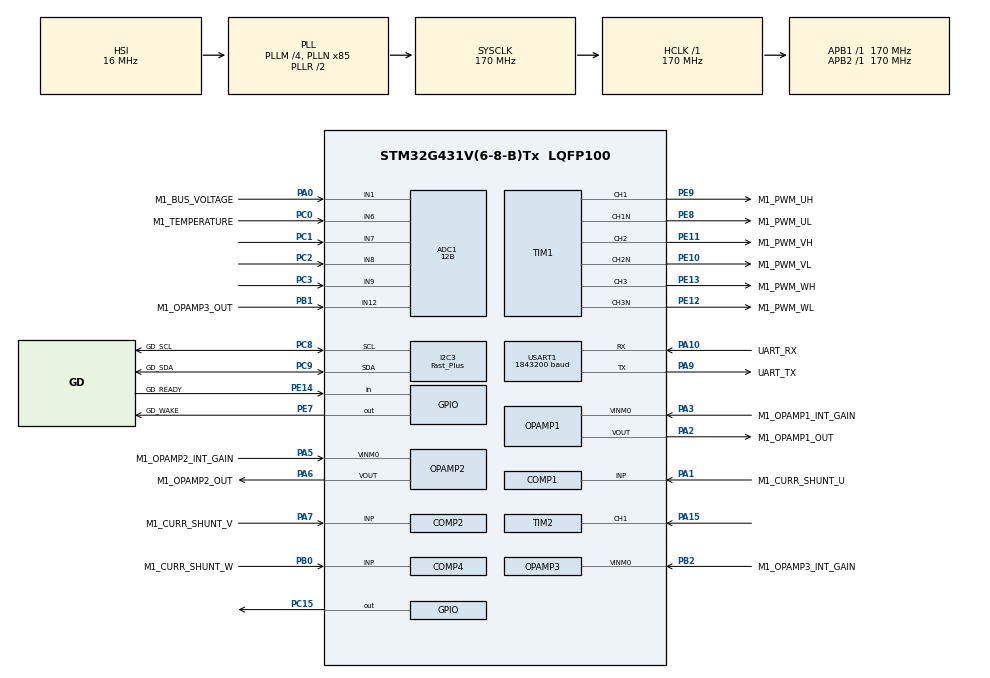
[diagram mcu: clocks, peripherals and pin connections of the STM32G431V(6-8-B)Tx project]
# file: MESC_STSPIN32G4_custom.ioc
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ADC1.Channel-1\#ChannelRegularConversion=ADC_CHANNEL_1
ADC1.Channel-2\#ChannelRegularConversion=ADC_CHANNEL_6
ADC1.Channel-3\#ChannelRegularConversion=ADC_CHANNEL_7
ADC1.Channel-4\#ChannelRegularConversion=ADC_CHANNEL_9
ADC1.Channel-5\#ChannelRegularConversion=ADC_CHANNEL_1
ADC1.ClockPrescaler=ADC_CLOCK_ASYNC_DIV1
ADC1.ContinuousConvMode=DISABLE
ADC1.DMAContinuousRequests=DISABLE
ADC1.DataAlign=ADC_DATAALIGN_RIGHT
ADC1.DiscontinuousConvMode=DISABLE
ADC1.EOCSelection=ADC_EOC_SINGLE_CONV
ADC1.EnableAnalogWatchDog1=false
ADC1.EnableAnalogWatchDog2=false
ADC1.EnableAnalogWatchDog3=false
ADC1.EnableInjectedConversion=ENABLE
ADC1.EnableRegularConversion=ENABLE
ADC1.ExternalTrigConv=ADC_SOFTWARE_START
ADC1.ExternalTrigConvEdge=ADC_EXTERNALTRIGCONVEDGE_NONE
ADC1.ExternalTrigInjecConv=ADC_EXTERNALTRIGINJEC_T1_CC4
ADC1.ExternalTrigInjecConvEdge=ADC_EXTERNALTRIGINJECCONV_EDGE_RISING
ADC1.InjNumberOfConversion=2
ADC1.InjectedChannel-1\#ChannelInjectedConversion=ADC_CHANNEL_3
ADC1.InjectedChannel-2\#ChannelInjectedConversion=ADC_CHANNEL_12
ADC1.InjectedConvMode=None
ADC1.InjectedOffset-1\#ChannelInjectedConversion=0
ADC1.InjectedOffset-2\#ChannelInjectedConversion=0
ADC1.InjectedOffsetNumber-1\#ChannelInjectedConversion=ADC_OFFSET_NONE
ADC1.InjectedOffsetNumber-2\#ChannelInjectedConversion=ADC_OFFSET_NONE
ADC1.InjectedRank-1\#ChannelInjectedConversion=1
ADC1.InjectedRank-2\#ChannelInjectedConversion=2
ADC1.InjectedSamplingTime-1\#ChannelInjectedConversion=ADC_SAMPLETIME_6CYCLES_5
ADC1.InjectedSamplingTime-2\#ChannelInjectedConversion=ADC_SAMPLETIME_6CYCLES_5
ADC1.LowPowerAutoWait=DISABLE
ADC1.NbrOfConversion=5
ADC1.NbrOfConversionFlag=1
ADC1.Offset-1\#ChannelRegularConversion=0
ADC1.Offset-2\#ChannelRegularConversion=0
ADC1.OffsetNumber-1\#ChannelRegularConversion=ADC_OFFSET_NONE
ADC1.OffsetNumber-2\#ChannelRegularConversion=ADC_OFFSET_NONE
ADC1.OffsetNumber-3\#ChannelRegularConversion=ADC_OFFSET_NONE
ADC1.OffsetNumber-4\#ChannelRegularConversion=ADC_OFFSET_NONE
ADC1.OffsetNumber-5\#ChannelRegularConversion=ADC_OFFSET_NONE
ADC1.Overrun=ADC_OVR_DATA_PRESERVED
ADC1.Rank-1\#ChannelRegularConversion=1
ADC1.Rank-2\#ChannelRegularConversion=2
ADC1.Rank-3\#ChannelRegularConversion=3
ADC1.Rank-4\#ChannelRegularConversion=4
ADC1.Rank-5\#ChannelRegularConversion=5
ADC1.Resolution=ADC_RESOLUTION_12B
ADC1.SamplingTime-1\#ChannelRegularConversion=ADC_SAMPLETIME_47CYCLES_5
ADC1.SamplingTime-2\#ChannelRegularConversion=ADC_SAMPLETIME_47CYCLES_5
ADC1.SamplingTime-3\#ChannelRegularConversion=ADC_SAMPLETIME_2CYCLES_5
ADC1.SamplingTime-4\#ChannelRegularConversion=ADC_SAMPLETIME_2CYCLES_5
ADC1.SamplingTime-5\#ChannelRegularConversion=ADC_SAMPLETIME_2CYCLES_5
ADC1.ScanConvMode=ADC_SCAN_ENABLE
ADC1.master=1
ADC2.ClockPrescaler=ADC_CLOCK_ASYNC_DIV1
ADC2.ContinuousConvMode=DISABLE
ADC2.DMAContinuousRequests=DISABLE
ADC2.DataAlign=ADC_DATAALIGN_RIGHT
ADC2.DiscontinuousConvMode=DISABLE
ADC2.EOCSelection=ADC_EOC_SINGLE_CONV
ADC2.EnableAnalogWatchDog1=false
ADC2.EnableAnalogWatchDog2=false
ADC2.EnableAnalogWatchDog3=false
ADC2.EnableInjectedConversion=ENABLE
ADC2.EnableRegularConversion=DISABLE
ADC2.ExternalTrigInjecConv=ADC_EXTERNALTRIGINJEC_T1_CC4
ADC2.ExternalTrigInjecConvEdge=ADC_EXTERNALTRIGINJECCONV_EDGE_RISING
ADC2.InjNumberOfConversion=2
ADC2.InjectedChannel-1\#ChannelInjectedConversion=ADC_CHANNEL_VOPAMP3_ADC2
ADC2.InjectedChannel-2\#ChannelInjectedConversion=ADC_CHANNEL_3
ADC2.InjectedConvMode=None
ADC2.InjectedOffset-1\#ChannelInjectedConversion=0
ADC2.InjectedOffset-2\#ChannelInjectedConversion=0
ADC2.InjectedOffsetNumber-1\#ChannelInjectedConversion=ADC_OFFSET_NONE
ADC2.InjectedOffsetNumber-2\#ChannelInjectedConversion=ADC_OFFSET_NONE
ADC2.InjectedRank-1\#ChannelInjectedConversion=1
ADC2.InjectedRank-2\#ChannelInjectedConversion=2
ADC2.InjectedSamplingTime-1\#ChannelInjectedConversion=ADC_SAMPLETIME_6CYCLES_5
ADC2.InjectedSamplingTime-2\#ChannelInjectedConversion=ADC_SAMPLETIME_6CYCLES_5
ADC2.LowPowerAutoWait=DISABLE
ADC2.Overrun=ADC_OVR_DATA_PRESERVED
ADC2.Resolution=ADC_RESOLUTION_12B
ADC2.ScanConvMode=ADC_SCAN_ENABLE
ADC2.master=1
DAC3.DAC_Channel-DAC_OUT2_Int=DAC_CHANNEL_2
Dma.ADC1.2.Direction=DMA_PERIPH_TO_MEMORY
Dma.ADC1.2.EventEnable=DISABLE
Dma.ADC1.2.Instance=DMA1_Channel3
Dma.ADC1.2.MemDataAlignment=DMA_MDATAALIGN_HALFWORD
Dma.ADC1.2.MemInc=DMA_MINC_ENABLE
Dma.ADC1.2.Mode=DMA_NORMAL
Dma.ADC1.2.PeriphDataAlignment=DMA_PDATAALIGN_HALFWORD
Dma.ADC1.2.PeriphInc=DMA_PINC_DISABLE
Dma.ADC1.2.Polarity=HAL_DMAMUX_REQ_GEN_RISING
Dma.ADC1.2.Priority=DMA_PRIORITY_LOW
Dma.ADC1.2.RequestNumber=1
Dma.ADC1.2.SignalID=NONE
Dma.ADC1.2.SyncEnable=DISABLE
Dma.ADC1.2.SyncPolarity=HAL_DMAMUX_SYNC_NO_EVENT
Dma.ADC1.2.SyncRequestNumber=1
Dma.ADC1.2.SyncSignalID=NONE
Dma.Request0=USART1_RX
Dma.Request1=USART1_TX
Dma.Request2=ADC1
Dma.USART1_RX.0.Direction=DMA_PERIPH_TO_MEMORY
Dma.USART1_RX.0.EventEnable=DISABLE
Dma.USART1_RX.0.Instance=DMA1_Channel1
Dma.USART1_RX.0.MemDataAlignment=DMA_MDATAALIGN_BYTE
Dma.USART1_RX.0.MemInc=DMA_MINC_ENABLE
Dma.USART1_RX.0.Mode=DMA_NORMAL
Dma.USART1_RX.0.PeriphDataAlignment=DMA_PDATAALIGN_BYTE
Dma.USART1_RX.0.PeriphInc=DMA_PINC_DISABLE
Dma.USART1_RX.0.Polarity=HAL_DMAMUX_REQ_GEN_RISING
Dma.USART1_RX.0.Priority=DMA_PRIORITY_LOW
Dma.USART1_RX.0.RequestNumber=1
Dma.USART1_RX.0.SignalID=NONE
Dma.USART1_RX.0.SyncEnable=DISABLE
Dma.USART1_RX.0.SyncPolarity=HAL_DMAMUX_SYNC_NO_EVENT
Dma.USART1_RX.0.SyncRequestNumber=1
Dma.USART1_RX.0.SyncSignalID=NONE
Dma.USART1_TX.1.Direction=DMA_MEMORY_TO_PERIPH
Dma.USART1_TX.1.EventEnable=DISABLE
Dma.USART1_TX.1.Instance=DMA1_Channel2
Dma.USART1_TX.1.MemDataAlignment=DMA_MDATAALIGN_BYTE
Dma.USART1_TX.1.MemInc=DMA_MINC_ENABLE
Dma.USART1_TX.1.Mode=DMA_NORMAL
Dma.USART1_TX.1.PeriphDataAlignment=DMA_PDATAALIGN_BYTE
Dma.USART1_TX.1.PeriphInc=DMA_PINC_DISABLE
Dma.USART1_TX.1.Polarity=HAL_DMAMUX_REQ_GEN_RISING
Dma.USART1_TX.1.Priority=DMA_PRIORITY_LOW
Dma.USART1_TX.1.RequestNumber=1
Dma.USART1_TX.1.SignalID=NONE
Dma.USART1_TX.1.SyncEnable=DISABLE
Dma.USART1_TX.1.SyncPolarity=HAL_DMAMUX_SYNC_NO_EVENT
Dma.USART1_TX.1.SyncRequestNumber=1
Dma.USART1_TX.1.SyncSignalID=NONE
I2C3.I2C_Speed_Mode=I2C_Fast_Plus
I2C3.Timing=0x4052060F
Mcu.Family=STM32G4
Mcu.Name=STM32G431V(6-8-B)Tx
Mcu.Package=LQFP100
NVIC.ADC1_2_IRQn=true\:2\:0\:true\:true\:true\:4\:true\:true\:true
NVIC.DMA1_Channel1_IRQn=true\:3\:0\:true\:true\:true\:2\:true\:true\:true
NVIC.DMA1_Channel3_IRQn=true\:0\:0\:false\:false\:true\:true\:true\:true
NVIC.PriorityGroup=NVIC_PRIORITYGROUP_3
NVIC.TIM1_UP_TIM16_IRQn=true\:0\:0\:false\:true\:true\:3\:true\:false\:true
NVIC.TIM2_IRQn=true\:0\:0\:false\:false\:true\:true\:false\:true
NVIC.USART1_IRQn=true\:3\:1\:true\:true\:true\:1\:true\:true\:true
OPAMP1.PgaGain=OPAMP_PGA_GAIN_16_OR_MINUS_15
OPAMP1.SelfCalibration=Disable
OPAMP2.PgaGain=OPAMP_PGA_GAIN_16_OR_MINUS_15
OPAMP2.SelfCalibration=Disable
OPAMP3.PgaGain=OPAMP_PGA_GAIN_16_OR_MINUS_15
OPAMP3.SelfCalibration=Disable
PA0.GPIO_Label=M1_BUS_VOLTAGE
PA0.Mode=IN1-Single-Ended
PA0.Signal=ADC1_IN1
PA1.GPIO_Label=M1_CURR_SHUNT_U
PA1.Signal=SharedAnalog_PA1
PA10.GPIO_Label=UART_RX
PA10.GPIO_Mode=GPIO_MODE_AF_PP
PA10.GPIO_PuPd=GPIO_NOPULL
PA10.GPIO_Speed=GPIO_SPEED_FREQ_LOW
PA10.Mode=Asynchronous
PA10.Signal=USART1_RX
PA13.GPIO_Label=TMS
PA13.Mode=Serial_Wire
PA13.Signal=SYS_JTMS-SWDIO
PA14.GPIO_Label=TCK
PA14.Mode=Serial_Wire
PA14.Signal=SYS_JTCK-SWCLK
PA15.Signal=S_TIM2_CH1
PA2.GPIO_Label=M1_OPAMP1_OUT
PA2.Signal=SharedAnalog_PA2
PA3.GPIO_Label=M1_OPAMP1_INT_GAIN
PA3.Mode=PGA Connected-INVERTINGINPUT_IO0_BIAS
PA3.Signal=OPAMP1_VINM0
PA5.GPIO_Label=M1_OPAMP2_INT_GAIN
PA5.Mode=PGA Connected-INVERTINGINPUT_IO0_BIAS
PA5.Signal=OPAMP2_VINM0
PA6.GPIO_Label=M1_OPAMP2_OUT
PA6.Signal=SharedAnalog_PA6
PA7.GPIO_Label=M1_CURR_SHUNT_V
PA7.Signal=SharedAnalog_PA7
PA9.GPIO_Label=UART_TX
PA9.GPIO_Mode=GPIO_MODE_AF_PP
PA9.GPIO_PuPd=GPIO_NOPULL
PA9.GPIO_Speed=GPIO_SPEED_FREQ_LOW
PA9.Mode=Asynchronous
PA9.Signal=USART1_TX
PB0.GPIO_Label=M1_CURR_SHUNT_W
PB0.Signal=SharedAnalog_PB0
PB1.GPIO_Label=M1_OPAMP3_OUT
PB1.Signal=SharedAnalog_PB1
PB2.GPIO_Label=M1_OPAMP3_INT_GAIN
PB2.Mode=PGA Internally connected_IO0_BIAS
PB2.Signal=OPAMP3_VINM0
PC0.GPIO_Label=M1_TEMPERATURE
PC0.Mode=IN6-Single-Ended
PC0.Signal=ADC1_IN6
PC1.Mode=IN7-Single-Ended
PC1.Signal=ADC1_IN7
PC15-OSC32_OUT.Signal=GPIO_Output
PC2.Mode=IN8-Single-Ended
PC2.Signal=ADC1_IN8
PC3.Mode=IN9-Single-Ended
PC3.Signal=ADC1_IN9
PC8.GPIO_Label=GD_SCL
PC8.Mode=I2C
PC8.Signal=I2C3_SCL
PC9.GPIO_Label=GD_SDA
PC9.Mode=I2C
PC9.Signal=I2C3_SDA
PE10.GPIO_Label=M1_PWM_VL
PE10.GPIO_PuPd=GPIO_PULLDOWN
PE10.GPIO_Speed=GPIO_SPEED_FREQ_HIGH
PE10.Mode=PWM Generation2 CH2 CH2N
PE10.Signal=TIM1_CH2N
PE11.GPIO_Label=M1_PWM_VH
PE11.GPIO_PuPd=GPIO_PULLDOWN
PE11.GPIO_Speed=GPIO_SPEED_FREQ_HIGH
PE11.Signal=S_TIM1_CH2
PE12.GPIO_Label=M1_PWM_WL
PE12.GPIO_PuPd=GPIO_PULLDOWN
PE12.GPIO_Speed=GPIO_SPEED_FREQ_HIGH
PE12.Mode=PWM Generation3 CH3 CH3N
PE12.Signal=TIM1_CH3N
PE13.GPIO_Label=M1_PWM_WH
PE13.GPIO_PuPd=GPIO_PULLDOWN
PE13.GPIO_Speed=GPIO_SPEED_FREQ_HIGH
PE13.Signal=S_TIM1_CH3
PE14.GPIO_Label=GD_READY
PE14.GPIO_PuPd=GPIO_PULLUP
PE14.Signal=GPIO_Input
PE7.GPIO_Label=GD_WAKE
PE7.PinState=GPIO_PIN_SET
PE7.Signal=GPIO_Output
PE8.GPIO_Label=M1_PWM_UL
PE8.GPIO_PuPd=GPIO_PULLDOWN
PE8.GPIO_Speed=GPIO_SPEED_FREQ_HIGH
PE8.Mode=PWM Generation1 CH1 CH1N
PE8.Signal=TIM1_CH1N
PE9.GPIO_Label=M1_PWM_UH
PE9.GPIO_PuPd=GPIO_PULLDOWN
PE9.GPIO_Speed=GPIO_SPEED_FREQ_HIGH
PE9.Signal=S_TIM1_CH1
ProjectManager.HeapSize=0x200
ProjectManager.StackSize=0x400
ProjectManager.TargetToolchain=CMake
RCC.ADC12CLockSelection=RCC_ADC12CLKSOURCE_PLL
RCC.ADC12Freq_Value=42500000
RCC.AHBFreq_Value=170000000
RCC.APB1Freq_Value=170000000
RCC.APB1TimFreq_Value=170000000
RCC.APB2Freq_Value=170000000
RCC.APB2TimFreq_Value=170000000
RCC.CK48CLockSelection=RCC_USBCLKSOURCE_PLL
RCC.CortexFreq_Value=170000000
RCC.EXTERNAL_CLOCK_VALUE=12288000
RCC.HCLKFreq_Value=170000000
RCC.HSE_VALUE=8000000
RCC.HSI48_VALUE=48000000
RCC.HSI_VALUE=16000000
RCC.LSE_VALUE=32768
RCC.PLLM=RCC_PLLM_DIV4
RCC.PLLN=85
RCC.PLLP=RCC_PLLP_DIV8
RCC.PREFETCH_ENABLE=1
RCC.SYSCLKFreq_VALUE=170000000
RCC.SYSCLKSource=RCC_SYSCLKSOURCE_PLLCLK
RCC.USBFreq_Value=170000000
RCC.VCOOutputFreq_Value=340000000
SH.S_TIM1_CH1.0=TIM1_CH1,PWM Generation1 CH1 CH1N
SH.S_TIM1_CH2.0=TIM1_CH2,PWM Generation2 CH2 CH2N
SH.S_TIM1_CH3.0=TIM1_CH3,PWM Generation3 CH3 CH3N
SH.S_TIM2_CH1.0=TIM2_CH1,TriggerSource_TI1FP1
SH.SharedAnalog_PA1.0=COMP1_INP,INP
SH.SharedAnalog_PA1.1=OPAMP1_VINP,PGA Connected-INVERTINGINPUT_IO0_BIAS
SH.SharedAnalog_PA2.0=OPAMP1_VOUT,PGA Connected-INVERTINGINPUT_IO0_BIAS
SH.SharedAnalog_PA2.1=ADC1_IN3,IN3-Single-Ended
SH.SharedAnalog_PA6.0=OPAMP2_VOUT,PGA Connected-INVERTINGINPUT_IO0_BIAS
SH.SharedAnalog_PA6.1=ADC2_IN3,IN3-Single-Ended
SH.SharedAnalog_PA7.0=COMP2_INP,INP
SH.SharedAnalog_PA7.1=OPAMP2_VINP,PGA Connected-INVERTINGINPUT_IO0_BIAS
SH.SharedAnalog_PB0.0=COMP4_INP,INP
SH.SharedAnalog_PB0.1=OPAMP3_VINP,PGA Internally connected_IO0_BIAS
SH.SharedAnalog_PB1.0=OPAMP3_VOUT
SH.SharedAnalog_PB1.1=ADC1_IN12,IN12-Single-Ended
SYS.VoltageScaling=SYSCFG_VREFBUF_VOLTAGE_SCALE2
TIM1.AutoReloadPreload=TIM_AUTORELOAD_PRELOAD_DISABLE
TIM1.AutomaticOutput=TIM_AUTOMATICOUTPUT_DISABLE
TIM1.Break2Filter=3
TIM1.Break2Polarity=TIM_BREAK2POLARITY_HIGH
TIM1.Break2State=TIM_BREAK2_DISABLE
TIM1.BreakFilter=3
TIM1.BreakPolarity=TIM_BREAKPOLARITY_HIGH
TIM1.BreakState=TIM_BREAK_ENABLE
TIM1.Channel-PWM\ Generation1\ CH1\ CH1N=TIM_CHANNEL_1
TIM1.Channel-PWM\ Generation2\ CH2\ CH2N=TIM_CHANNEL_2
TIM1.Channel-PWM\ Generation3\ CH3\ CH3N=TIM_CHANNEL_3
TIM1.Channel-PWM\ Generation4\ No\ Output=TIM_CHANNEL_4
TIM1.ClearInputSource=TIM_CLEARINPUTSOURCE_NONE
TIM1.ClockDivision=TIM_CLOCKDIVISION_DIV2
TIM1.CounterMode=TIM_COUNTERMODE_CENTERALIGNED1
TIM1.DeadTime=((DEAD_TIME_COUNTS) / 2)
TIM1.LockLevel=TIM_LOCKLEVEL_OFF
TIM1.OC1Preload_PWM=ENABLE
TIM1.OC2Preload_PWM=ENABLE
TIM1.OC3Preload_PWM=ENABLE
TIM1.OC4Preload_PWM=ENABLE
TIM1.OCIdleState_1=TIM_OCIDLESTATE_RESET
TIM1.OCIdleState_2=TIM_OCIDLESTATE_RESET
TIM1.OCIdleState_3=TIM_OCIDLESTATE_RESET
TIM1.OCIdleState_4=TIM_OCIDLESTATE_RESET
TIM1.OCMode_PWM-PWM\ Generation1\ CH1\ CH1N=TIM_OCMODE_PWM1
TIM1.OCMode_PWM-PWM\ Generation2\ CH2\ CH2N=TIM_OCMODE_PWM1
TIM1.OCMode_PWM-PWM\ Generation3\ CH3\ CH3N=TIM_OCMODE_PWM1
TIM1.OCMode_PWM-PWM\ Generation4\ No\ Output=TIM_OCMODE_PWM2
TIM1.OCNIdleState_1=TIM_OCNIDLESTATE_RESET
TIM1.OCNIdleState_2=TIM_OCNIDLESTATE_RESET
TIM1.OCNIdleState_3=TIM_OCNIDLESTATE_RESET
TIM1.OCNPolarity_1=TIM_OCNPOLARITY_HIGH
TIM1.OCNPolarity_2=TIM_OCNPOLARITY_HIGH
TIM1.OCNPolarity_3=TIM_OCNPOLARITY_HIGH
TIM1.OCPolarity_1=TIM_OCPOLARITY_HIGH
TIM1.OCPolarity_2=TIM_OCPOLARITY_HIGH
TIM1.OCPolarity_3=TIM_OCPOLARITY_HIGH
TIM1.OCPolarity_4=TIM_OCPOLARITY_HIGH
TIM1.OffStateIDLEMode=TIM_OSSI_ENABLE
TIM1.OffStateRunMode=TIM_OSSR_ENABLE
TIM1.PeriodNoDither=((PWM_PERIOD_CYCLES) / 2)
TIM1.Prescaler=((TIM_CLOCK_DIVIDER) - 1)
TIM1.PulseNoDither_1=((PWM_PERIOD_CYCLES) / 4)
TIM1.PulseNoDither_2=((PWM_PERIOD_CYCLES) / 4)
TIM1.PulseNoDither_3=((PWM_PERIOD_CYCLES) / 4)
TIM1.PulseNoDither_4=(((PWM_PERIOD_CYCLES) / 2) - (HTMIN))
TIM1.RepetitionCounter=(REP_COUNTER)
TIM1.SourceBRK2DigInput=TIM_BREAKINPUTSOURCE_DISABLE
TIM1.SourceBRKCOMP1=TIM_BREAKINPUTSOURCE_ENABLE
TIM1.SourceBRKCOMP1Polarity=TIM_BREAKINPUTSOURCE_POLARITY_HIGH
TIM1.SourceBRKCOMP2=TIM_BREAKINPUTSOURCE_DISABLE
TIM1.SourceBRKCOMP4=TIM_BREAKINPUTSOURCE_DISABLE
TIM1.SourceBRKDigInput=TIM_BREAKINPUTSOURCE_DISABLE
TIM1.TIM_MasterOutputTrigger=TIM_TRGO_OC4REF
TIM1.TIM_MasterOutputTrigger2=TIM_TRGO2_RESET
TIM1.TIM_MasterSlaveMode=TIM_MASTERSLAVEMODE_DISABLE
TIM2.PeriodNoDither=50000
USART1.BaudRate=1843200
USART1.VirtualMode-Asynchronous=VM_ASYNC
USART1.WordLength=WORDLENGTH_8B
VP_ADC2_OPAMP_INTERNAL3.Mode=IN-OPAMP3
VP_COMP1_VS_DAC3OUT1.Mode=INM_DAC3OUT1
VP_COMP2_VS_DAC3OUT2.Mode=INM_DAC3OUT2
VP_COMP4_VS_DAC3OUT2.Mode=INM_DAC3OUT2
VP_CORDIC_VS_CORDIC.Mode=CORDIC_Activate
VP_DAC3_VS_DACI1.Mode=DAC_OUT1_Int
VP_DAC3_VS_DACI2.Mode=DAC_OUT2_Int
VP_SYS_VS_DBSignals.Mode=DisableDeadBatterySignals
VP_TIM1_VS_no_output4.Mode=PWM Generation4 No Output
VP_TIM2_VS_ClockSourceINT.Mode=Internal
VP_TIM2_VS_ControllerModeReset.Mode=Reset Mode
VP_TIM3_VS_ClockSourceINT.Mode=Internal
VP_TIM7_VS_ClockSourceINT.Mode=Enable_Timer
VREF+.Mode=InternalMode
VREF+.Signal=VREFBUF_OUT
board=custom

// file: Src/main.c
/* USER CODE BEGIN Header */
/**
  ******************************************************************************
  * @file           : main.c
  * @brief          : Main program body
  ******************************************************************************
  * @attention
  *
  * Copyright (c) 2025 STMicroelectronics.
  * All rights reserved.
  *
  * This software is licensed under terms that can be found in the LICENSE file
  * in the root directory of this software component.
  * If no LICENSE file comes with this software, it is provided AS-IS.
  *
  ******************************************************************************
  */
/* USER CODE END Header */
#include "main.h"
#include "adc.h"
#include "comp.h"
#include "cordic.h"
#include "dac.h"
#include "dma.h"
#include "i2c.h"
#include "opamp.h"
#include "tim.h"
#include "usart.h"
#include "gpio.h"

/* USER CODE BEGIN Includes */
#include "MESCfoc.h"
#include "MESCmotor.h"
#include "MESCtemp.h"
#include "MESCerror.h"
#include "MESCpwm.h"
#include "stspin32g4.h"
/* USER CODE END Includes */

/* USER CODE BEGIN PV */
STSPIN32G4_HandleTypeDef HdlSTSPING4;
/* USER CODE END PV */

void SystemClock_Config(void);
static void MX_NVIC_Init(void);

int main(void)
{

  /* MCU Configuration--------------------------------------------------------*/

  /* Reset of all peripherals, Initializes the Flash interface and the Systick. */
  HAL_Init();

  /* Configure the system clock */
  SystemClock_Config();

  /* Initialize all configured peripherals */
  MX_GPIO_Init();
  MX_DMA_Init();
  MX_ADC1_Init();
  MX_ADC2_Init();
  MX_COMP1_Init();
  MX_COMP2_Init();
  MX_COMP4_Init();
  MX_CORDIC_Init();
  MX_DAC3_Init();
  MX_I2C3_Init();
  MX_OPAMP1_Init();
  MX_OPAMP2_Init();
  MX_OPAMP3_Init();
  MX_TIM1_Init();
  MX_USART1_UART_Init();
  MX_TIM2_Init();
  MX_TIM3_Init();
  MX_TIM7_Init();

  /* Initialize interrupts */
  MX_NVIC_Init();
  /* USER CODE BEGIN 2 */
  STSPIN32G4_init(&HdlSTSPING4);
  STSPIN32G4_reset(&HdlSTSPING4);
  STSPIN32G4_setVCC(&HdlSTSPING4, (STSPIN32G4_confVCC){.voltage = _12V,
                                                        .useNFAULT = true,
                                                        .useREADY = false });
  STSPIN32G4_setVDSP(&HdlSTSPING4, (STSPIN32G4_confVDSP){.deglitchTime = _4us,
                                                          .useNFAULT = true });
  STSPIN32G4_clearFaults(&HdlSTSPING4);
  /* 2ms delay for nFault signal end of process */
  HAL_Delay(2);
  /* Clear pending BreakIn flag due to STSPIN32G4 initialization */
  //todo implement BRKIN handling
  // if (0U == LL_TIM_IsActiveFlag_BRK(TIM1))
  // {
  //   /* Nothing to do */
  // }
  // else
  // {
  //   LL_TIM_ClearFlag_BRK(TIM1);
  // }

  //Set motor timer
	mtr[0].mtimer = &htim1;
	mtr[0].stimer = &htim2;
  mtr[0].HFI.Type = DEFAULT_HFI_TYPE; //Disable HFI

  mtr[0].HFI.inject = 0;
  mtr[0].meas.hfi_voltage = HFI_VOLTAGE;

  // Configure startup sensor
  mtr[0].SLStartupSensor = DEFAULT_STARTUP_SENSOR;
  mtr[0].MotorSensorMode = DEFAULT_SENSOR_MODE;

  // Set hardware limits
  mtr[0].input_vars.max_request_Idq.q = MAX_IQ_REQUEST;
  mtr[0].input_vars.min_request_Idq.q = MIN_IQ_REQUEST;
  mtr[0].input_vars.max_request_Idq.d = MAX_ID_REQUEST;

  // Enable motor control
  mtr[0].MotorState = MOTOR_STATE_TRACKING;

  //Initialise MESC
	motor_init(&mtr[0]);
	MESCfoc_Init(&mtr[0]);
  HAL_Delay(3000);

  mtr[0].MotorState = MOTOR_STATE_MEASURING;
  while (mtr[0].MotorState == MOTOR_STATE_MEASURING) {
    __NOP();
  }
  HAL_Delay(3000);
  mtr[0].MotorState = MOTOR_STATE_GET_KV;
  while (mtr[0].MotorState == MOTOR_STATE_GET_KV) {
    __NOP();
  }
  /* USER CODE END 2 */

  /* Infinite loop */
  /* USER CODE BEGIN WHILE */
  while (1)
  {
    HAL_Delay(0);
    /* USER CODE END WHILE */

  }
}

void SystemClock_Config(void)
{
  RCC_OscInitTypeDef RCC_OscInitStruct = {0};
  RCC_ClkInitTypeDef RCC_ClkInitStruct = {0};

  /** Configure the main internal regulator output voltage
  */
  HAL_PWREx_ControlVoltageScaling(PWR_REGULATOR_VOLTAGE_SCALE1_BOOST);

  /** Initializes the RCC Oscillators according to the specified parameters
  * in the RCC_OscInitTypeDef structure.
  */
  RCC_OscInitStruct.OscillatorType = RCC_OSCILLATORTYPE_HSI;
  RCC_OscInitStruct.HSIState = RCC_HSI_ON;
  RCC_OscInitStruct.HSICalibrationValue = RCC_HSICALIBRATION_DEFAULT;
  RCC_OscInitStruct.PLL.PLLState = RCC_PLL_ON;
  RCC_OscInitStruct.PLL.PLLSource = RCC_PLLSOURCE_HSI;
  RCC_OscInitStruct.PLL.PLLM = RCC_PLLM_DIV4;
  RCC_OscInitStruct.PLL.PLLN = 85;
  RCC_OscInitStruct.PLL.PLLP = RCC_PLLP_DIV8;
  RCC_OscInitStruct.PLL.PLLQ = RCC_PLLQ_DIV2;
  RCC_OscInitStruct.PLL.PLLR = RCC_PLLR_DIV2;
  if (HAL_RCC_OscConfig(&RCC_OscInitStruct) != HAL_OK)
  {
    Error_Handler();
  }

  /** Initializes the CPU, AHB and APB buses clocks
  */
  RCC_ClkInitStruct.ClockType = RCC_CLOCKTYPE_HCLK|RCC_CLOCKTYPE_SYSCLK
                              |RCC_CLOCKTYPE_PCLK1|RCC_CLOCKTYPE_PCLK2;
  RCC_ClkInitStruct.SYSCLKSource = RCC_SYSCLKSOURCE_PLLCLK;
  RCC_ClkInitStruct.AHBCLKDivider = RCC_SYSCLK_DIV1;
  RCC_ClkInitStruct.APB1CLKDivider = RCC_HCLK_DIV1;
  RCC_ClkInitStruct.APB2CLKDivider = RCC_HCLK_DIV1;

  if (HAL_RCC_ClockConfig(&RCC_ClkInitStruct, FLASH_LATENCY_4) != HAL_OK)
  {
    Error_Handler();
  }
}

/**
  * @brief NVIC Configuration.
  * @retval None
  */
static void MX_NVIC_Init(void)
{
  /* USART1_IRQn interrupt configuration */
  HAL_NVIC_SetPriority(USART1_IRQn, 3, 1);
  HAL_NVIC_EnableIRQ(USART1_IRQn);
  /* DMA1_Channel1_IRQn interrupt configuration */
  HAL_NVIC_SetPriority(DMA1_Channel1_IRQn, 3, 0);
  HAL_NVIC_EnableIRQ(DMA1_Channel1_IRQn);
  /* TIM1_UP_TIM16_IRQn interrupt configuration */
  HAL_NVIC_SetPriority(TIM1_UP_TIM16_IRQn, 0, 0);
  HAL_NVIC_EnableIRQ(TIM1_UP_TIM16_IRQn);
  /* ADC1_2_IRQn interrupt configuration */
  HAL_NVIC_SetPriority(ADC1_2_IRQn, 2, 0);
  HAL_NVIC_EnableIRQ(ADC1_2_IRQn);
}

void Error_Handler(void)
{
  /* USER CODE BEGIN Error_Handler_Debug */
  /* User can add his own implementation to report the HAL error return state */
  __disable_irq();
  MESCpwm_generateBreakAll();
  while (1)
  {
  }
  /* USER CODE END Error_Handler_Debug */
}
#ifdef USE_FULL_ASSERT
/**
  * @brief  Reports the name of the source file and the source line number
  *         where the assert_param error has occurred.
  * @param  file: pointer to the source file name
  * @param  line: assert_param error line source number
  * @retval None
  */
void assert_failed(uint8_t *file, uint32_t line)
{
  /* USER CODE BEGIN 6 */
  MESCpwm_generateBreakAll();
  /* User can add his own implementation to report the file name and line number,
     ex: printf("Wrong parameters value: file %s on line %d\r\n", file, line) */
  /* USER CODE END 6 */
}
#endif /* USE_FULL_ASSERT */
